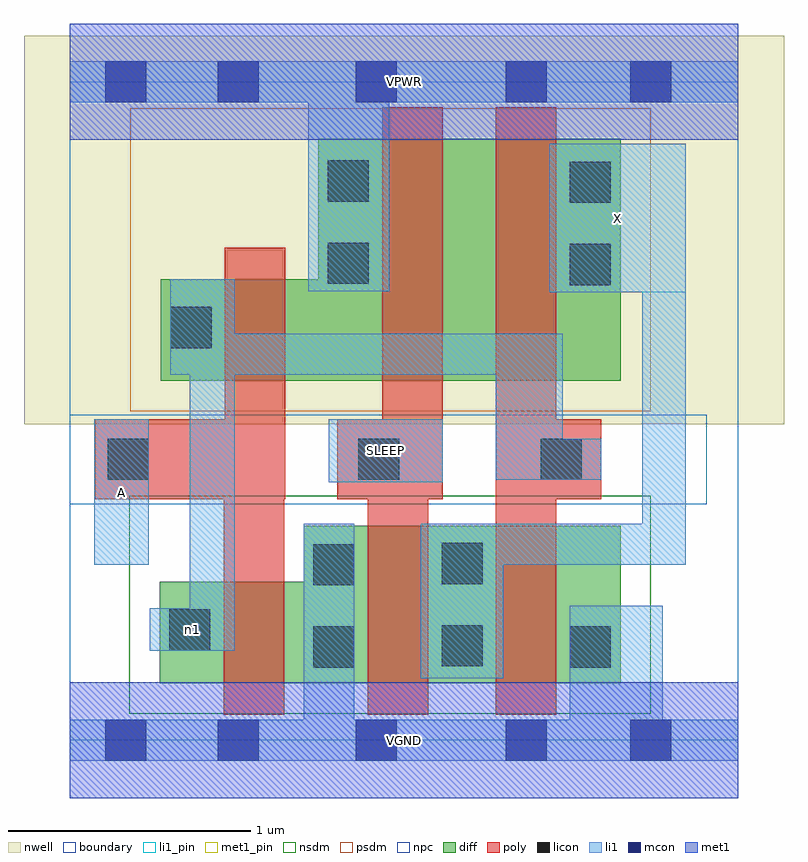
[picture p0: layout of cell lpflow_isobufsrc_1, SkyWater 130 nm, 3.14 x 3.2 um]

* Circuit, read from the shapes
.subckt lpflow_isobufsrc_1 A SLEEP VGND VPWR X n1
XM1 VGND A n1 VSUBS sky130_fd_pr__nfet_01v8 w=0.42 l=0.25
XM2 X SLEEP VGND VSUBS sky130_fd_pr__nfet_01v8 w=0.65 l=0.25
XM3 VGND n1 X VSUBS sky130_fd_pr__nfet_01v8 w=0.65 l=0.25
XM4 VPWR A n1 n2 sky130_fd_pr__pfet_01v8 w=0.42 l=0.25
XM5 n3 SLEEP VPWR n2 sky130_fd_pr__pfet_01v8 w=1 l=0.25
XM6 X n1 n3 n2 sky130_fd_pr__pfet_01v8 w=1 l=0.25
.ends

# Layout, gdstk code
import gdstk
lib = gdstk.Library(unit=1e-6, precision=1e-09)
def R(c, l, rs):  # rectangles x0, y0, x1, y1
    for r in rs: c.add(gdstk.rectangle(r[:2], r[2:], *l))
nwell = (64, 20)
diff = (65, 20)
poly = (66, 20)
licon = (66, 44)
li1_pin = (67, 16)
li1 = (67, 20)
mcon = (67, 44)
met1_pin = (68, 16)
met1 = (68, 20)
nsdm = (93, 44)
psdm = (94, 20)
npc = (95, 20)
boundary = (235, 4)

lpflow_isobufsrc_1 = lib.new_cell('lpflow_isobufsrc_1')
R(lpflow_isobufsrc_1, nwell, [(-0.19,1.305,2.95,2.91), (0,1.305,2.76,2.91)])
R(lpflow_isobufsrc_1, diff, [(0.37,0.235,2.275,0.655), (0.965,0.235,2.275,0.885), (0.375,1.485,2.275,1.905), (1.025,1.485,2.275,2.485)])
R(lpflow_isobufsrc_1, poly, [(0.635,0.105,0.885,1.325), (1.23,0.105,1.48,1.325), (1.76,0.105,2.01,2.615), (0.105,0.995,0.89,1.325), (0.64,0.995,0.89,2.035), (1.105,0.995,1.54,1.325), (1.29,0.995,1.54,2.615), (1.76,0.995,2.195,1.325)])
R(lpflow_isobufsrc_1, licon, [(1.005,0.3,1.175,0.47), (2.065,0.3,2.235,0.47), (1.535,0.305,1.705,0.475), (0.41,0.37,0.58,0.54), (1.005,0.64,1.175,0.81), (1.535,0.645,1.705,0.815), (0.155,1.075,0.325,1.245), (1.19,1.075,1.36,1.245), (1.945,1.075,2.115,1.245), (0.415,1.62,0.585,1.79), (2.065,1.88,2.235,2.05), (1.065,1.885,1.235,2.055), (2.065,2.22,2.235,2.39), (1.065,2.225,1.235,2.395)])
R(lpflow_isobufsrc_1, li1_pin, [(0.1,0.725,0.325,1.325), (1.07,1.065,1.54,1.325), (1.98,1.85,2.545,2.465)])
R(lpflow_isobufsrc_1, li1, [(0,-0.085,2.76,0.085), (0.965,-0.085,1.175,0.895), (2.065,-0.085,2.45,0.555), (1.45,0.255,1.79,0.895), (0.33,0.37,0.68,0.545), (0.495,0.37,0.68,1.905), (0.1,0.725,0.325,1.325), (1.45,0.725,2.545,0.895), (2.365,0.725,2.545,2.465), (1.07,1.065,1.54,1.325), (1.76,1.075,2.035,1.68), (1.76,1.075,2.195,1.245), (0.415,1.51,2.035,1.68), (0.415,1.51,0.68,1.905), (1.98,1.85,2.545,2.465), (0.985,1.855,1.32,2.805), (0,2.635,2.76,2.805)])
R(lpflow_isobufsrc_1, mcon, [(0.145,-0.085,0.315,0.085), (0.61,-0.085,0.78,0.085), (1.18,-0.085,1.35,0.085), (1.8,-0.085,1.97,0.085), (2.315,-0.085,2.485,0.085), (0.145,2.635,0.315,2.805), (0.61,2.635,0.78,2.805), (1.18,2.635,1.35,2.805), (1.8,2.635,1.97,2.805), (2.315,2.635,2.485,2.805)])
R(lpflow_isobufsrc_1, met1_pin, [(0,-0.24,2.76,0.24), (0,2.48,2.76,2.96)])
R(lpflow_isobufsrc_1, met1, [(0,-0.24,2.76,0.24), (0,2.48,2.76,2.96)])
R(lpflow_isobufsrc_1, nsdm, [(0.245,0.11,2.4,1.01)])
R(lpflow_isobufsrc_1, psdm, [(0.25,1.36,2.4,2.61)])
R(lpflow_isobufsrc_1, npc, [(0,0.975,2.63,1.345)])
R(lpflow_isobufsrc_1, boundary, [(0,0,2.76,2.72)])
lpflow_isobufsrc_1.add(gdstk.Label('A', (0.212,1.025), layer=67, texttype=5))
lpflow_isobufsrc_1.add(gdstk.Label('SLEEP', (1.305,1.195), layer=67, texttype=5))
lpflow_isobufsrc_1.add(gdstk.Label('X', (2.262,2.157), layer=67, texttype=5))
lpflow_isobufsrc_1.add(gdstk.Label('n1', (0.505,0.457), layer=67, texttype=5))
lpflow_isobufsrc_1.add(gdstk.Label('VPWR', (1.38,2.72), layer=68, texttype=5))
lpflow_isobufsrc_1.add(gdstk.Label('VGND', (1.38,0), layer=68, texttype=5))
lpflow_isobufsrc_1.add(gdstk.Label('A', (0.212,1.025), layer=67, texttype=16))
lpflow_isobufsrc_1.add(gdstk.Label('SLEEP', (1.305,1.195), layer=67, texttype=16))
lpflow_isobufsrc_1.add(gdstk.Label('X', (2.262,2.157), layer=67, texttype=16))
lpflow_isobufsrc_1.add(gdstk.Label('VPWR', (1.38,2.72), layer=68, texttype=16))
lpflow_isobufsrc_1.add(gdstk.Label('VGND', (1.38,0), layer=68, texttype=16))

lib.write_gds('lpflow_isobufsrc_1.gds')
